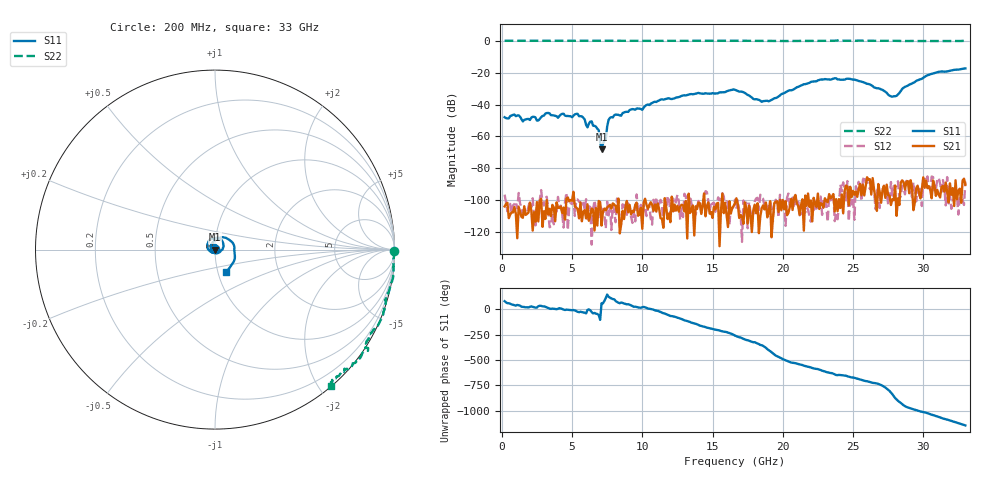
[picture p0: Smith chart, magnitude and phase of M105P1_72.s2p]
# GHZ S RI R 50
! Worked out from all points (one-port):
!   329 points, 200 MHz to 33 GHz, reference 50 ohm
!   lowest |S11| = -68.2 dB at 7.1 GHz (marker M1), VSWR 1.00, Z = 50 + j0.0339 ohm
!   |S11| at or under -10 dB: start of sweep to end of sweep
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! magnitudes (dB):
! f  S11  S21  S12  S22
! 200 MHz  -48.0  -103.9  -96.5  0.0
! 1.2 GHz  -46.8  -104.1  -95.5  0.0
! 1.5 GHz  -50.6  -111.0  -111.6  0.0
! 2.2 GHz  -47.7  -119.0  -98.8  0.0
! 2.6 GHz  -50.0  -113.3  -106.2  0.0
! 3.2 GHz  -45.3  -99.9  -97.8  0.0
! 5.7 GHz  -47.4  -113.2  -104.4  0.0
! 6.1 GHz  -54.3  -102.6  -111.7  0.0
! 6.4 GHz  -50.6  -105.2  -127.8  0.0
! 6.9 GHz  -56.1  -100.5  -111.5  0.0
! 7.1 GHz  -68.2  -115.9  -105.9  0.0
! 7.4 GHz  -62.0  -106.4  -117.7  0.0
! 7.5 GHz  -53.8  -104.5  -100.8  0.0
! 7.7 GHz  -48.3  -103.0  -102.9  0.0
! 11.2 GHz  -37.3  -105.4  -102.0  -0.1
! 16.6 GHz  -30.8  -101.8  -99.6  0.0
! 19 GHz  -38.0  -107.7  -102.6  -0.1
! 22.1 GHz  -25.6  -113.3  -106.3  -0.1
! 25.1 GHz  -24.3  -96.6  -112.3  0.1
! 27.6 GHz  -34.4  -97.1  -100.6  0.0
! 30.5 GHz  -21.0  -93.6  -93.6  -0.2
! 33 GHz  -17.3  -90.3  -88.2  0.0
